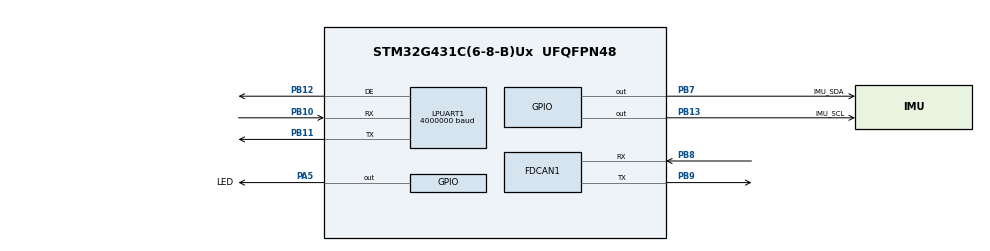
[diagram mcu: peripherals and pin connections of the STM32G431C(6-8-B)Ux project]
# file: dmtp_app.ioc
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Dma.LPUART1_RX.1.Direction=DMA_PERIPH_TO_MEMORY
Dma.LPUART1_RX.1.EventEnable=DISABLE
Dma.LPUART1_RX.1.Instance=DMA1_Channel2
Dma.LPUART1_RX.1.MemDataAlignment=DMA_MDATAALIGN_BYTE
Dma.LPUART1_RX.1.MemInc=DMA_MINC_ENABLE
Dma.LPUART1_RX.1.Mode=DMA_NORMAL
Dma.LPUART1_RX.1.PeriphDataAlignment=DMA_PDATAALIGN_BYTE
Dma.LPUART1_RX.1.PeriphInc=DMA_PINC_DISABLE
Dma.LPUART1_RX.1.Polarity=HAL_DMAMUX_REQ_GEN_RISING
Dma.LPUART1_RX.1.Priority=DMA_PRIORITY_VERY_HIGH
Dma.LPUART1_RX.1.RequestNumber=1
Dma.LPUART1_RX.1.SignalID=NONE
Dma.LPUART1_RX.1.SyncEnable=DISABLE
Dma.LPUART1_RX.1.SyncPolarity=HAL_DMAMUX_SYNC_NO_EVENT
Dma.LPUART1_RX.1.SyncRequestNumber=1
Dma.LPUART1_RX.1.SyncSignalID=NONE
Dma.LPUART1_TX.0.Direction=DMA_MEMORY_TO_PERIPH
Dma.LPUART1_TX.0.EventEnable=DISABLE
Dma.LPUART1_TX.0.Instance=DMA1_Channel1
Dma.LPUART1_TX.0.MemDataAlignment=DMA_MDATAALIGN_BYTE
Dma.LPUART1_TX.0.MemInc=DMA_MINC_ENABLE
Dma.LPUART1_TX.0.Mode=DMA_NORMAL
Dma.LPUART1_TX.0.PeriphDataAlignment=DMA_PDATAALIGN_BYTE
Dma.LPUART1_TX.0.PeriphInc=DMA_PINC_DISABLE
Dma.LPUART1_TX.0.Polarity=HAL_DMAMUX_REQ_GEN_RISING
Dma.LPUART1_TX.0.Priority=DMA_PRIORITY_HIGH
Dma.LPUART1_TX.0.RequestNumber=1
Dma.LPUART1_TX.0.SignalID=NONE
Dma.LPUART1_TX.0.SyncEnable=DISABLE
Dma.LPUART1_TX.0.SyncPolarity=HAL_DMAMUX_SYNC_NO_EVENT
Dma.LPUART1_TX.0.SyncRequestNumber=1
Dma.LPUART1_TX.0.SyncSignalID=NONE
Dma.Request0=LPUART1_TX
Dma.Request1=LPUART1_RX
FDCAN1.AutoRetransmission=ENABLE
FDCAN1.CalculateBaudRateNominal=1000000
FDCAN1.CalculateTimeBitNominal=1000
FDCAN1.CalculateTimeQuantumNominal=50.0
FDCAN1.DataPrescaler=8
FDCAN1.DataSyncJumpWidth=4
FDCAN1.DataTimeSeg1=14
FDCAN1.DataTimeSeg2=5
FDCAN1.FrameFormat=FDCAN_FRAME_FD_BRS
FDCAN1.NominalPrescaler=8
FDCAN1.NominalSyncJumpWidth=4
FDCAN1.NominalTimeSeg1=14
FDCAN1.NominalTimeSeg2=5
FDCAN1.ProtocolException=DISABLE
LPUART1.BaudRate=4000000
LPUART1.DMADisableonRxErrorParam=UART_ADVFEATURE_DMA_DISABLEONRXERROR
LPUART1.OneBitSampling=UART_ONE_BIT_SAMPLE_DISABLE
LPUART1.OverrunDisableParam=UART_ADVFEATURE_OVERRUN_DISABLE
LPUART1.UART_DEAssertionTime=1
LPUART1.UART_DEDeassertionTime=1
Mcu.Family=STM32G4
Mcu.Name=STM32G431C(6-8-B)Ux
Mcu.Package=UFQFPN48
NVIC.DMA1_Channel1_IRQn=true\:3\:0\:true\:false\:true\:true\:false\:true
NVIC.LPUART1_IRQn=true\:2\:0\:true\:false\:true\:true\:false\:true
NVIC.PriorityGroup=NVIC_PRIORITYGROUP_4
NVIC.TIM2_IRQn=true\:0\:0\:true\:false\:true\:true\:false\:true
PA13.Mode=Serial_Wire
PA13.Signal=SYS_JTMS-SWDIO
PA14.Mode=Serial_Wire
PA14.Signal=SYS_JTCK-SWCLK
PA5.GPIO_Label=LED
PA5.PinState=GPIO_PIN_SET
PA5.Signal=GPIO_Output
PB10.Mode=Asynchronous
PB10.Signal=LPUART1_RX
PB11.Mode=Asynchronous
PB11.Signal=LPUART1_TX
PB12.Mode=Hardware Flow Control (RS485)
PB12.Signal=LPUART1_DE
PB13.GPIO_Label=IMU_SCL
PB13.GPIO_Speed=GPIO_SPEED_FREQ_MEDIUM
PB13.PinState=GPIO_PIN_SET
PB13.Signal=GPIO_Output
PB7.GPIO_Label=IMU_SDA
PB7.GPIO_Speed=GPIO_SPEED_FREQ_MEDIUM
PB7.PinState=GPIO_PIN_SET
PB7.Signal=GPIO_Output
PB8-BOOT0.GPIO_Speed=GPIO_SPEED_FREQ_HIGH
PB8-BOOT0.Mode=FDCAN_Activate
PB8-BOOT0.Signal=FDCAN1_RX
PB9.GPIO_Speed=GPIO_SPEED_FREQ_HIGH
PB9.Mode=FDCAN_Activate
PB9.Signal=FDCAN1_TX
PF0-OSC_IN.Mode=HSE-External-Oscillator
PF0-OSC_IN.Signal=RCC_OSC_IN
PF1-OSC_OUT.Mode=HSE-External-Oscillator
PF1-OSC_OUT.Signal=RCC_OSC_OUT
ProjectManager.HeapSize=0x00
ProjectManager.StackSize=0x800
ProjectManager.TargetToolchain=Makefile
RCC.ADC12Freq_Value=160000000
RCC.AHBFreq_Value=160000000
RCC.APB1Freq_Value=160000000
RCC.APB1TimFreq_Value=160000000
RCC.APB2Freq_Value=160000000
RCC.APB2TimFreq_Value=160000000
RCC.CortexFreq_Value=160000000
RCC.EXTERNAL_CLOCK_VALUE=12288000
RCC.FDCANCLockSelection=RCC_FDCANCLKSOURCE_PLL
RCC.HCLKFreq_Value=160000000
RCC.HSE_VALUE=24000000
RCC.HSI48_VALUE=48000000
RCC.HSI_VALUE=16000000
RCC.LSE_VALUE=32768
RCC.PLLM=RCC_PLLM_DIV3
RCC.PLLN=40
RCC.PLLSourceVirtual=RCC_PLLSOURCE_HSE
RCC.SYSCLKFreq_VALUE=160000000
RCC.SYSCLKSource=RCC_SYSCLKSOURCE_PLLCLK
RCC.USART1CLockSelection=RCC_USART1CLKSOURCE_SYSCLK
RCC.USBFreq_Value=160000000
RCC.VCOOutputFreq_Value=320000000
STMicroelectronics.X-CUBE-ALGOBUILD.1.3.0.LibraryCcDSPOoLibraryJjDSPOoLibrary=true
TIM2.PeriodNoDither=999
TIM2.Prescaler=159
VP_STMicroelectronics.X-CUBE-ALGOBUILD_VS_DSPOoLibraryJjLibrary_1.3.0_1.3.0.Mode=DSPOoLibraryJjLibrary
VP_SYS_VS_DBSignals.Mode=DisableDeadBatterySignals
VP_TIM2_VS_ClockSourceINT.Mode=Internal
board=custom

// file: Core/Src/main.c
/* USER CODE BEGIN Header */
/**
  ******************************************************************************
  * @file           : main.c
  * @brief          : Main program body
  ******************************************************************************
  * @attention
  *
  * Copyright (c) 2024 STMicroelectronics.
  * All rights reserved.
  *
  * This software is licensed under terms that can be found in the LICENSE file
  * in the root directory of this software component.
  * If no LICENSE file comes with this software, it is provided AS-IS.
  *
  ******************************************************************************
  */
/* USER CODE END Header */
#include "main.h"

/* USER CODE BEGIN Includes */
#include "EKF.h"
#include "Fusion.h"
#include "com.h"
#include "dfu.h"
#include "eeprom_emul.h"
#include "flash.h"
#include "imu.h"
#include "mpu6050.h"
#include "soc.h"
#include "util.h"
#include <math.h>
/* USER CODE END Includes */

FDCAN_HandleTypeDef hfdcan1;

void        SystemClock_Config(void);
static void MX_GPIO_Init(void);
static void MX_DMA_Init(void);
static void MX_TIM2_Init(void);
static void MX_LPUART1_UART_Init(void);
static void MX_FDCAN1_Init(void);

int main(void)
{

    /* MCU Configuration--------------------------------------------------------*/

    /* Reset of all peripherals, Initializes the Flash interface and the Systick. */
    HAL_Init();

    /* Configure the system clock */
    SystemClock_Config();

    /* Initialize all configured peripherals */
    MX_GPIO_Init();
    MX_DMA_Init();
    MX_TIM2_Init();
    MX_LPUART1_UART_Init();
    MX_FDCAN1_Init();
    /* USER CODE BEGIN 2 */

    soc_init();

    MPU6050_init();

    // In The Main Function:
    ekf_t ekf;
    float euler_ekf[3];
    EKF_init(&ekf, 0, 0, 0, 0.1f, 0.0001f, 1.0f, 200.0f, 0u);

    // // Set AHRS settings
    // const FusionAhrsSettings settings = {
    //     .convention            = FusionConventionNwu,
    //     .gain                  = 0.5f,
    //     .gyroscopeRange        = 500.0f, /* replace with actual gyroscope range */
    //     .accelerationRejection = 8.0f,
    //     .magneticRejection     = 8.0f,
    //     .recoveryTriggerPeriod = 5 * 200, /* 5 seconds */
    // };
    // FusionAhrsSetSettings(&ahrs, &settings);

    uint32_t tick            = 0;
    uint32_t bias_print_tick = 0;
    while (1) {
        if (soc_get_ms_since(tick) >= 5) {
            tick = soc_get_tick();

            soc_led_toggle();

            int16_t acce_x, acce_y, acce_z, gyro_x, gyro_y, gyro_z, temper;
            MPU6050_read_raw_data(&acce_x, &acce_y, &acce_z, &gyro_x, &gyro_y, &gyro_z, &temper);

            acce_x -= 1090;
            acce_y += 112;
            acce_z -= 714;
            gyro_x += 565;
            gyro_y -= 152;
            gyro_z -= 59;
            // DEBUG("acce: %d %d %d, gyro: %d %d %d, temper: %d\n", acce_x, acce_y, acce_z, gyro_x, gyro_y, gyro_z, temper);

            float gyro[3], accel[3];
            gyro[0]  = (float) gyro_x * 1000.0f / 65536.0f * M_PI / 180.0f; // deg/s to rad/s
            gyro[1]  = (float) gyro_y * 1000.0f / 65536.0f * M_PI / 180.0f; // deg/s to rad/s
            gyro[2]  = (float) gyro_z * 1000.0f / 65536.0f * M_PI / 180.0f; // deg/s to rad/s
            accel[0] = (float) acce_x * 4.0f / 65536.0f;                    // g
            accel[1] = (float) acce_y * 4.0f / 65536.0f;                    // g
            accel[2] = (float) acce_z * 4.0f / 65536.0f;                    // g

            EKF_update(&ekf, euler_ekf, accel[0], accel[1], accel[2], gyro[0], gyro[1], gyro[2], 0.0f, 0.0f, 0.0f, 0.005f);
            // Convert radians to degrees
            float roll_deg  = euler_ekf[0] * 180.0f / 3.14159265f;
            float pitch_deg = euler_ekf[1] * 180.0f / 3.14159265f;
            float yaw_deg   = euler_ekf[2] * 180.0f / 3.14159265f;

            DEBUG_PLOT(roll_deg, pitch_deg, yaw_deg);

            if (soc_get_ms_since(bias_print_tick) >= 100) {
                bias_print_tick = soc_get_tick();
                // DEBUG("gyro_bias(rad/s): %.5f %.5f %.5f\n", ekf.x[4], ekf.x[5], ekf.x[6]);
            }
        }
    }

    /* USER CODE END 2 */

    /* Infinite loop */
    /* USER CODE BEGIN WHILE */

    uint32_t tick_1hz = 0;

    while (1) {
        /* USER CODE END WHILE */

        /* USER CODE BEGIN 3 */

        // 485 rx loop
        if (soc_uart_get_rx_count()) {
            com_485_rx_confirmation(soc_uart_get_rx_buffer(), soc_uart_get_rx_count());
            soc_uart_reset_rx_count();
        }

        // can rx loop
        if (HAL_FDCAN_GetRxFifoFillLevel(&hfdcan1, FDCAN_RX_FIFO0) > 0) {
            FDCAN_RxHeaderTypeDef rx_header;
            uint8_t               rx_data[64];
            HAL_FDCAN_GetRxMessage(&hfdcan1, FDCAN_RX_FIFO0, &rx_header, rx_data);
            com_can_rx_confirmation(&rx_header, rx_data);
        }

        // 1Hz
        if (soc_get_ms_since(tick_1hz) >= 1000) {
            tick_1hz = soc_get_tick();

            // can bus auto bus off recover
            if (hfdcan1.Instance->PSR & FDCAN_PSR_BO) {
                HAL_FDCAN_Stop(&hfdcan1);
                HAL_FDCAN_Start(&hfdcan1);
            }

            soc_led_toggle();
        }
    }
    /* USER CODE END 3 */
}

void SystemClock_Config(void)
{
    LL_FLASH_SetLatency(LL_FLASH_LATENCY_4);
    while (LL_FLASH_GetLatency() != LL_FLASH_LATENCY_4) {
    }
    LL_PWR_EnableRange1BoostMode();
    LL_RCC_HSE_Enable();
    /* Wait till HSE is ready */
    while (LL_RCC_HSE_IsReady() != 1) {
    }

    LL_RCC_PLL_ConfigDomain_SYS(LL_RCC_PLLSOURCE_HSE, LL_RCC_PLLM_DIV_3, 40, LL_RCC_PLLR_DIV_2);
    LL_RCC_PLL_ConfigDomain_48M(LL_RCC_PLLSOURCE_HSE, LL_RCC_PLLM_DIV_3, 40, LL_RCC_PLLQ_DIV_2);
    LL_RCC_PLL_EnableDomain_SYS();
    LL_RCC_PLL_EnableDomain_48M();
    LL_RCC_PLL_Enable();
    /* Wait till PLL is ready */
    while (LL_RCC_PLL_IsReady() != 1) {
    }

    LL_RCC_SetSysClkSource(LL_RCC_SYS_CLKSOURCE_PLL);
    LL_RCC_SetAHBPrescaler(LL_RCC_SYSCLK_DIV_2);
    /* Wait till System clock is ready */
    while (LL_RCC_GetSysClkSource() != LL_RCC_SYS_CLKSOURCE_STATUS_PLL) {
    }

    /* Insure 1us transition state at intermediate medium speed clock*/
    for (__IO uint32_t i = (170 >> 1); i != 0; i--)
        ;

    /* Set AHB prescaler*/
    LL_RCC_SetAHBPrescaler(LL_RCC_SYSCLK_DIV_1);
    LL_RCC_SetAPB1Prescaler(LL_RCC_APB1_DIV_1);
    LL_RCC_SetAPB2Prescaler(LL_RCC_APB2_DIV_1);
    LL_SetSystemCoreClock(160000000);

    /* Update the time base */
    if (HAL_InitTick(TICK_INT_PRIORITY) != HAL_OK) {
        Error_Handler();
    }
}

static void MX_FDCAN1_Init(void)
{

    hfdcan1.Instance                  = FDCAN1;
    hfdcan1.Init.ClockDivider         = FDCAN_CLOCK_DIV1;
    hfdcan1.Init.FrameFormat          = FDCAN_FRAME_FD_BRS;
    hfdcan1.Init.Mode                 = FDCAN_MODE_NORMAL;
    hfdcan1.Init.AutoRetransmission   = ENABLE;
    hfdcan1.Init.TransmitPause        = DISABLE;
    hfdcan1.Init.ProtocolException    = DISABLE;
    hfdcan1.Init.NominalPrescaler     = 8;
    hfdcan1.Init.NominalSyncJumpWidth = 4;
    hfdcan1.Init.NominalTimeSeg1      = 14;
    hfdcan1.Init.NominalTimeSeg2      = 5;
    hfdcan1.Init.DataPrescaler        = 8;
    hfdcan1.Init.DataSyncJumpWidth    = 4;
    hfdcan1.Init.DataTimeSeg1         = 14;
    hfdcan1.Init.DataTimeSeg2         = 5;
    hfdcan1.Init.StdFiltersNbr        = 0;
    hfdcan1.Init.ExtFiltersNbr        = 0;
    hfdcan1.Init.TxFifoQueueMode      = FDCAN_TX_FIFO_OPERATION;
    if (HAL_FDCAN_Init(&hfdcan1) != HAL_OK) {
        Error_Handler();
    }
}

static void MX_LPUART1_UART_Init(void)
{

    LL_LPUART_InitTypeDef LPUART_InitStruct = {0};

    LL_GPIO_InitTypeDef GPIO_InitStruct = {0};

    LL_RCC_SetLPUARTClockSource(LL_RCC_LPUART1_CLKSOURCE_PCLK1);

    /* Peripheral clock enable */
    LL_APB1_GRP2_EnableClock(LL_APB1_GRP2_PERIPH_LPUART1);

    LL_AHB2_GRP1_EnableClock(LL_AHB2_GRP1_PERIPH_GPIOB);
    /**LPUART1 GPIO Configuration
  PB10   ------> LPUART1_RX
  PB11   ------> LPUART1_TX
  PB12   ------> LPUART1_DE
  */
    GPIO_InitStruct.Pin        = LL_GPIO_PIN_10;
    GPIO_InitStruct.Mode       = LL_GPIO_MODE_ALTERNATE;
    GPIO_InitStruct.Speed      = LL_GPIO_SPEED_FREQ_LOW;
    GPIO_InitStruct.OutputType = LL_GPIO_OUTPUT_PUSHPULL;
    GPIO_InitStruct.Pull       = LL_GPIO_PULL_NO;
    GPIO_InitStruct.Alternate  = LL_GPIO_AF_8;
    LL_GPIO_Init(GPIOB, &GPIO_InitStruct);

    GPIO_InitStruct.Pin        = LL_GPIO_PIN_11;
    GPIO_InitStruct.Mode       = LL_GPIO_MODE_ALTERNATE;
    GPIO_InitStruct.Speed      = LL_GPIO_SPEED_FREQ_LOW;
    GPIO_InitStruct.OutputType = LL_GPIO_OUTPUT_PUSHPULL;
    GPIO_InitStruct.Pull       = LL_GPIO_PULL_NO;
    GPIO_InitStruct.Alternate  = LL_GPIO_AF_8;
    LL_GPIO_Init(GPIOB, &GPIO_InitStruct);

    GPIO_InitStruct.Pin        = LL_GPIO_PIN_12;
    GPIO_InitStruct.Mode       = LL_GPIO_MODE_ALTERNATE;
    GPIO_InitStruct.Speed      = LL_GPIO_SPEED_FREQ_LOW;
    GPIO_InitStruct.OutputType = LL_GPIO_OUTPUT_PUSHPULL;
    GPIO_InitStruct.Pull       = LL_GPIO_PULL_NO;
    GPIO_InitStruct.Alternate  = LL_GPIO_AF_8;
    LL_GPIO_Init(GPIOB, &GPIO_InitStruct);

    /* LPUART1 DMA Init */

    /* LPUART1_TX Init */
    LL_DMA_SetPeriphRequest(DMA1, LL_DMA_CHANNEL_1, LL_DMAMUX_REQ_LPUART1_TX);

    LL_DMA_SetDataTransferDirection(DMA1, LL_DMA_CHANNEL_1, LL_DMA_DIRECTION_MEMORY_TO_PERIPH);

    LL_DMA_SetChannelPriorityLevel(DMA1, LL_DMA_CHANNEL_1, LL_DMA_PRIORITY_HIGH);

    LL_DMA_SetMode(DMA1, LL_DMA_CHANNEL_1, LL_DMA_MODE_NORMAL);

    LL_DMA_SetPeriphIncMode(DMA1, LL_DMA_CHANNEL_1, LL_DMA_PERIPH_NOINCREMENT);

    LL_DMA_SetMemoryIncMode(DMA1, LL_DMA_CHANNEL_1, LL_DMA_MEMORY_INCREMENT);

    LL_DMA_SetPeriphSize(DMA1, LL_DMA_CHANNEL_1, LL_DMA_PDATAALIGN_BYTE);

    LL_DMA_SetMemorySize(DMA1, LL_DMA_CHANNEL_1, LL_DMA_MDATAALIGN_BYTE);

    /* LPUART1_RX Init */
    LL_DMA_SetPeriphRequest(DMA1, LL_DMA_CHANNEL_2, LL_DMAMUX_REQ_LPUART1_RX);

    LL_DMA_SetDataTransferDirection(DMA1, LL_DMA_CHANNEL_2, LL_DMA_DIRECTION_PERIPH_TO_MEMORY);

    LL_DMA_SetChannelPriorityLevel(DMA1, LL_DMA_CHANNEL_2, LL_DMA_PRIORITY_VERYHIGH);

    LL_DMA_SetMode(DMA1, LL_DMA_CHANNEL_2, LL_DMA_MODE_NORMAL);

    LL_DMA_SetPeriphIncMode(DMA1, LL_DMA_CHANNEL_2, LL_DMA_PERIPH_NOINCREMENT);

    LL_DMA_SetMemoryIncMode(DMA1, LL_DMA_CHANNEL_2, LL_DMA_MEMORY_INCREMENT);

    LL_DMA_SetPeriphSize(DMA1, LL_DMA_CHANNEL_2, LL_DMA_PDATAALIGN_BYTE);

    LL_DMA_SetMemorySize(DMA1, LL_DMA_CHANNEL_2, LL_DMA_MDATAALIGN_BYTE);

    /* LPUART1 interrupt Init */
    NVIC_SetPriority(LPUART1_IRQn, NVIC_EncodePriority(NVIC_GetPriorityGrouping(), 2, 0));
    NVIC_EnableIRQ(LPUART1_IRQn);

    LPUART_InitStruct.PrescalerValue      = LL_LPUART_PRESCALER_DIV1;
    LPUART_InitStruct.BaudRate            = 4000000;
    LPUART_InitStruct.DataWidth           = LL_LPUART_DATAWIDTH_8B;
    LPUART_InitStruct.StopBits            = LL_LPUART_STOPBITS_1;
    LPUART_InitStruct.Parity              = LL_LPUART_PARITY_NONE;
    LPUART_InitStruct.TransferDirection   = LL_LPUART_DIRECTION_TX_RX;
    LPUART_InitStruct.HardwareFlowControl = LL_LPUART_HWCONTROL_NONE;
    LL_LPUART_Init(LPUART1, &LPUART_InitStruct);
    LL_LPUART_SetTXFIFOThreshold(LPUART1, LL_LPUART_FIFOTHRESHOLD_1_8);
    LL_LPUART_SetRXFIFOThreshold(LPUART1, LL_LPUART_FIFOTHRESHOLD_1_8);
    LL_LPUART_DisableFIFO(LPUART1);
    LL_LPUART_EnableOverrunDetect(LPUART1);
    LL_LPUART_EnableDMADeactOnRxErr(LPUART1);
    LL_LPUART_EnableDEMode(LPUART1);
    LL_LPUART_SetDESignalPolarity(LPUART1, LL_LPUART_DE_POLARITY_HIGH);
    LL_LPUART_SetDEAssertionTime(LPUART1, 1);
    LL_LPUART_SetDEDeassertionTime(LPUART1, 1);

    LL_LPUART_Enable(LPUART1);

    /* Polling LPUART1 initialisation */
    while ((!(LL_LPUART_IsActiveFlag_TEACK(LPUART1))) || (!(LL_LPUART_IsActiveFlag_REACK(LPUART1)))) {
    }
}

static void MX_TIM2_Init(void)
{

    LL_TIM_InitTypeDef TIM_InitStruct = {0};

    /* Peripheral clock enable */
    LL_APB1_GRP1_EnableClock(LL_APB1_GRP1_PERIPH_TIM2);

    /* TIM2 interrupt Init */
    NVIC_SetPriority(TIM2_IRQn, NVIC_EncodePriority(NVIC_GetPriorityGrouping(), 0, 0));
    NVIC_EnableIRQ(TIM2_IRQn);

    TIM_InitStruct.Prescaler     = 159;
    TIM_InitStruct.CounterMode   = LL_TIM_COUNTERMODE_UP;
    TIM_InitStruct.Autoreload    = 999;
    TIM_InitStruct.ClockDivision = LL_TIM_CLOCKDIVISION_DIV1;
    LL_TIM_Init(TIM2, &TIM_InitStruct);
    LL_TIM_DisableARRPreload(TIM2);
    LL_TIM_SetClockSource(TIM2, LL_TIM_CLOCKSOURCE_INTERNAL);
    LL_TIM_SetTriggerOutput(TIM2, LL_TIM_TRGO_RESET);
    LL_TIM_DisableMasterSlaveMode(TIM2);
}

static void MX_DMA_Init(void)
{
    /* Init with LL driver */
    /* DMA controller clock enable */
    LL_AHB1_GRP1_EnableClock(LL_AHB1_GRP1_PERIPH_DMAMUX1);
    LL_AHB1_GRP1_EnableClock(LL_AHB1_GRP1_PERIPH_DMA1);

    /* DMA interrupt init */
    /* DMA1_Channel1_IRQn interrupt configuration */
    NVIC_SetPriority(DMA1_Channel1_IRQn, NVIC_EncodePriority(NVIC_GetPriorityGrouping(), 3, 0));
    NVIC_EnableIRQ(DMA1_Channel1_IRQn);
}

static void MX_GPIO_Init(void)
{
    LL_GPIO_InitTypeDef GPIO_InitStruct = {0};

    /* GPIO Ports Clock Enable */
    LL_AHB2_GRP1_EnableClock(LL_AHB2_GRP1_PERIPH_GPIOF);
    LL_AHB2_GRP1_EnableClock(LL_AHB2_GRP1_PERIPH_GPIOA);
    LL_AHB2_GRP1_EnableClock(LL_AHB2_GRP1_PERIPH_GPIOB);

    /**/
    LL_GPIO_SetOutputPin(LED_GPIO_Port, LED_Pin);

    /**/
    LL_GPIO_SetOutputPin(IMU_SCL_GPIO_Port, IMU_SCL_Pin);

    /**/
    LL_GPIO_SetOutputPin(IMU_SDA_GPIO_Port, IMU_SDA_Pin);

    /**/
    GPIO_InitStruct.Pin        = LED_Pin;
    GPIO_InitStruct.Mode       = LL_GPIO_MODE_OUTPUT;
    GPIO_InitStruct.Speed      = LL_GPIO_SPEED_FREQ_LOW;
    GPIO_InitStruct.OutputType = LL_GPIO_OUTPUT_PUSHPULL;
    GPIO_InitStruct.Pull       = LL_GPIO_PULL_NO;
    LL_GPIO_Init(LED_GPIO_Port, &GPIO_InitStruct);

    /**/
    GPIO_InitStruct.Pin        = IMU_SCL_Pin;
    GPIO_InitStruct.Mode       = LL_GPIO_MODE_OUTPUT;
    GPIO_InitStruct.Speed      = LL_GPIO_SPEED_FREQ_MEDIUM;
    GPIO_InitStruct.OutputType = LL_GPIO_OUTPUT_PUSHPULL;
    GPIO_InitStruct.Pull       = LL_GPIO_PULL_NO;
    LL_GPIO_Init(IMU_SCL_GPIO_Port, &GPIO_InitStruct);

    /**/
    GPIO_InitStruct.Pin        = IMU_SDA_Pin;
    GPIO_InitStruct.Mode       = LL_GPIO_MODE_OUTPUT;
    GPIO_InitStruct.Speed      = LL_GPIO_SPEED_FREQ_MEDIUM;
    GPIO_InitStruct.OutputType = LL_GPIO_OUTPUT_PUSHPULL;
    GPIO_InitStruct.Pull       = LL_GPIO_PULL_NO;
    LL_GPIO_Init(IMU_SDA_GPIO_Port, &GPIO_InitStruct);

}

void Error_Handler(void)
{
    __disable_irq();
    while (1) {
    }
}
